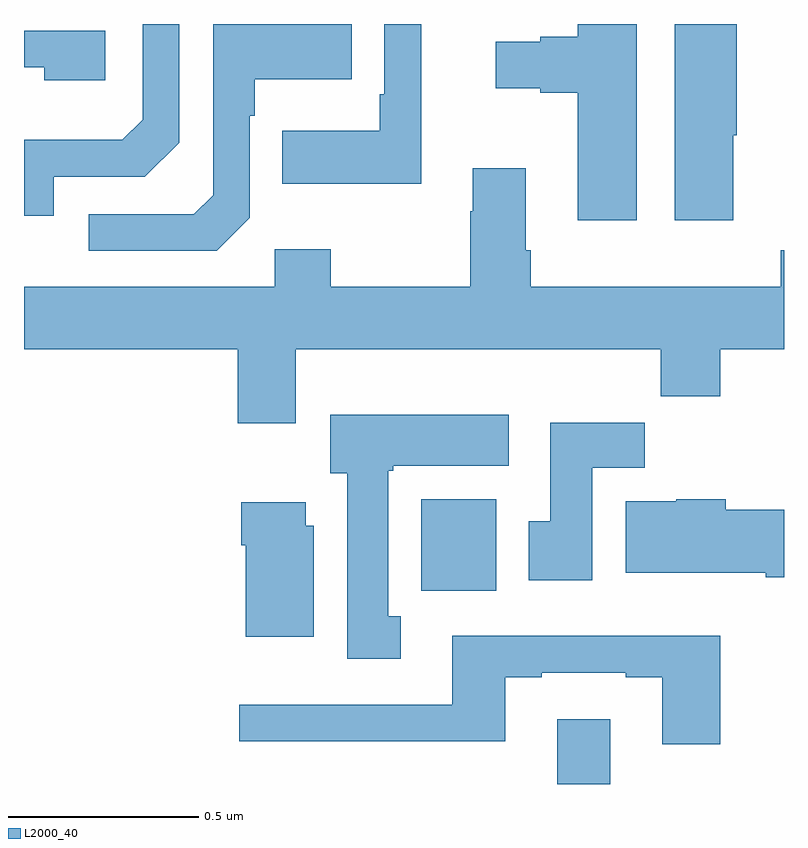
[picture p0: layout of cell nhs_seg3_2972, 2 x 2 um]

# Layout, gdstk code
import gdstk
lib = gdstk.Library(unit=1e-6, precision=1e-09)
def R(c, l, rs):  # rectangles x0, y0, x1, y1
    for r in rs: c.add(gdstk.rectangle(r[:2], r[2:], *l))
def P(c, l, *ps):  # polygons
    for p in ps: c.add(gdstk.Polygon(p, *l))
L2000_40 = (2000, 40)

nhs_seg3_2972 = lib.new_cell('nhs_seg3_2972')
R(nhs_seg3_2972, L2000_40, [(148.403,738.4,148.543,738.571), (148.046,738.908,148.243,739.15)])
P(nhs_seg3_2972, L2000_40, [(148.046,740.4),(147.948,740.4),(147.948,740.215),(147.936,740.215),(147.936,740.119),(147.679,740.119),(147.679,739.979),(148.046,739.979)],
  [(148.612,740.4),(148.457,740.4),(148.457,740.366),(148.358,740.366),(148.358,740.353),(148.242,740.353),(148.242,740.231),(148.358,740.231),(148.358,740.219),(148.457,740.219),(148.457,739.884),(148.612,739.884)],
  [(147.078,739.998),(147.318,739.998),(147.408,740.088),(147.408,740.4),(147.312,740.4),(147.312,740.148),(147.259,740.095),(147,740.095),(147,739.896),(147.078,739.896)],
  [(147.594,739.89),(147.594,740.159),(147.607,740.159),(147.607,740.255),(147.863,740.255),(147.863,740.4),(147.498,740.4),(147.498,739.95),(147.447,739.899),(147.171,739.899),(147.171,739.803),(147.507,739.803)],
  [(148.867,740.107),(148.875,740.107),(148.875,740.4),(148.712,740.4),(148.712,739.884),(148.867,739.884)],
  [(147.214,740.382),(147,740.382),(147,740.286),(147.053,740.286),(147.053,740.252),(147.214,740.252)],
  [(147.715,739.544),(148.675,739.544),(148.675,739.42),(148.832,739.42),(148.832,739.544),(149,739.544),(149,739.804),(148.991,739.804),(148.991,739.708),(148.334,739.708),(148.334,739.804),(148.321,739.804),(148.321,740.02),(148.181,740.02),(148.181,739.907),(148.174,739.907),(148.174,739.708),(147.807,739.708),(147.807,739.807),(147.66,739.807),(147.66,739.708),(147,739.708),(147,739.544),(147.563,739.544),(147.563,739.35),(147.715,739.35)],
  [(147.991,738.842),(147.958,738.842),(147.958,739.225),(147.972,739.225),(147.972,739.238),(148.276,739.238),(148.276,739.372),(147.806,739.372),(147.806,739.218),(147.851,739.218),(147.851,738.729),(147.991,738.729)],
  [(148.495,739.232),(148.634,739.232),(148.634,739.351),(148.385,739.351),(148.385,739.092),(148.328,739.092),(148.328,738.936),(148.495,738.936)],
  [(149,739.122),(148.847,739.122),(148.847,739.15),(148.716,739.15),(148.716,739.144),(148.583,739.144),(148.583,738.956),(148.952,738.956),(148.952,738.944),(149,738.944)],
  [(147.763,739.08),(147.742,739.08),(147.742,739.141),(147.572,739.141),(147.572,739.028),(147.584,739.028),(147.584,738.788),(147.763,738.788)],
  [(148.832,738.79),(148.127,738.79),(148.127,738.609),(147.567,738.609),(147.567,738.512),(148.267,738.512),(148.267,738.681),(148.363,738.681),(148.363,738.693),(148.583,738.693),(148.583,738.681),(148.679,738.681),(148.679,738.504),(148.832,738.504)])

lib.write_gds('nhs_seg3_2972.gds')
